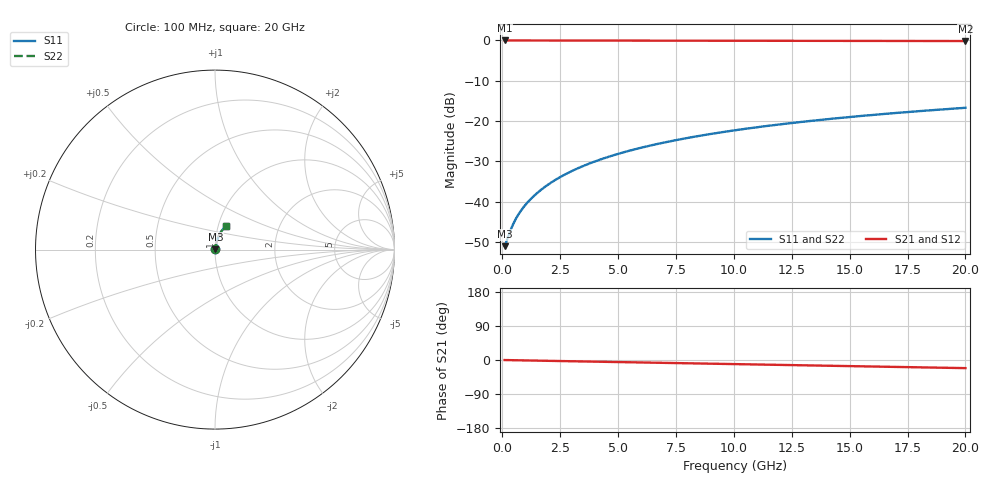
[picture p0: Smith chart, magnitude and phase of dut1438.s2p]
! Touchstone file exported from HFSS 2026.1.0
!  File:  C:/ffzhzh/LocalFiles/Ansys_Project_Files/temp_train_TMRDL_1438_1783166969_51560.aedt
!  Generated:  08:10:39 PM Jul  4, 2026
!  Design:  TMRDL
!  Project:  temp_train_TMRDL_1438_1783166969_51560
! Variables:
!  h_bsmrdl = 2um
!  h_ox = 20um
!  h_rdl = 5um
!  h_sub = 80um
!  h_tmrdl = 2.34um
!  h_tsv = 80um
!  h_via = 3um
!  l_bsmrdl = 300um
!  l_sub = 729.6um
!  l_tmrdl = 329.6um
!  m_sub = 200um
!  pitch = 32.77um
!  r_tsv = 6um
!  s_tmrdl = 10um
!  w_bsmrdl = 18um
!  w_sub = 500um
!  w_tmrdl = 21.74um
!  x_tsv_center1 = 340.47um
!  x_tsv_center2 = 658.47um
!  x_tsv_center3 = 1009.81um
!  x_tsv_center4 = 1327.81um
!  x_tsv_center5 = 1679.15um
!  x_tsv_center6 = 1997.15um
# GHz S MA R 50.000000
! Terminal data exported
! Port[1] = TM_RDL1_1_T1
! Port[2] = TM_RDL1_1_T2
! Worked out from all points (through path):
!   200 points, 100 MHz to 20 GHz, reference 50 ohm
!   highest |S21| = -0.02 dB at 100 MHz (marker M1); lowest = -0.2 dB at 20 GHz (marker M2)
!   group delay of S21, straight-line fit = 2.97 ps
!   lowest |S11| = -51.0 dB at 100 MHz (marker M3), VSWR 1.01, Z = 50.3 + j0.0976 ohm
!   |S11| at or under -10 dB: start of sweep to end of sweep
!   |S22| runs from -51.0 to -16.7 dB; largest |S21 - S12| = 4.2e-15
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0.1  0.002804 20.3  0.9974 -0.1  0.9974 -0.1  0.002804 20.3
! Gamma 0 0 0 0
! Port Impedance 50 0 50 0
0.4  0.004743 51.0  0.997 -0.5  0.997 -0.5  0.004744 51.0
0.5  0.005491 55.3  0.9969 -0.6  0.9969 -0.6  0.005491 55.3
0.6  0.006232 58.4  0.9968 -0.7  0.9968 -0.7  0.006232 58.4
0.7  0.006964 60.8  0.9967 -0.8  0.9967 -0.8  0.006964 60.9
0.9  0.00841 64.6  0.9965 -1.0  0.9965 -1.0  0.008411 64.6
1.2  0.01057 68.5  0.9963 -1.3  0.9963 -1.3  0.01057 68.5
1.4  0.01202 70.4  0.9962 -1.6  0.9962 -1.6  0.01202 70.4
1.7  0.01421 72.6  0.9961 -1.9  0.9961 -1.9  0.01421 72.6
2.2  0.01792 74.9  0.996 -2.4  0.996 -2.4  0.01792 74.9
2.8  0.02242 76.6  0.9958 -3.1  0.9958 -3.1  0.02242 76.6
3.5  0.02772 77.6  0.9955 -3.8  0.9955 -3.8  0.02772 77.6
4.2  0.03303 78.0  0.9952 -4.6  0.9952 -4.6  0.03303 78.0
5  0.03909 78.0  0.9948 -5.5  0.9948 -5.5  0.03909 78.0
5.9  0.0459 77.8  0.9943 -6.4  0.9943 -6.4  0.0459 77.8
6.8  0.05267 77.3  0.9938 -7.4  0.9938 -7.4  0.05267 77.3
8.3  0.06387 76.2  0.9927 -9.0  0.9927 -9.0  0.06387 76.2
10.1  0.07712 74.7  0.9913 -11.0  0.9913 -11.0  0.07713 74.7
11.7  0.08872 73.3  0.9898 -12.7  0.9898 -12.7  0.08872 73.3
13.4  0.1008 71.7  0.9881 -14.5  0.9881 -14.5  0.1008 71.7
16.7  0.1237 68.5  0.9846 -18.0  0.9846 -18.0  0.1237 68.4
20  0.1458 65.2  0.9807 -21.4  0.9807 -21.4  0.1458 65.2
